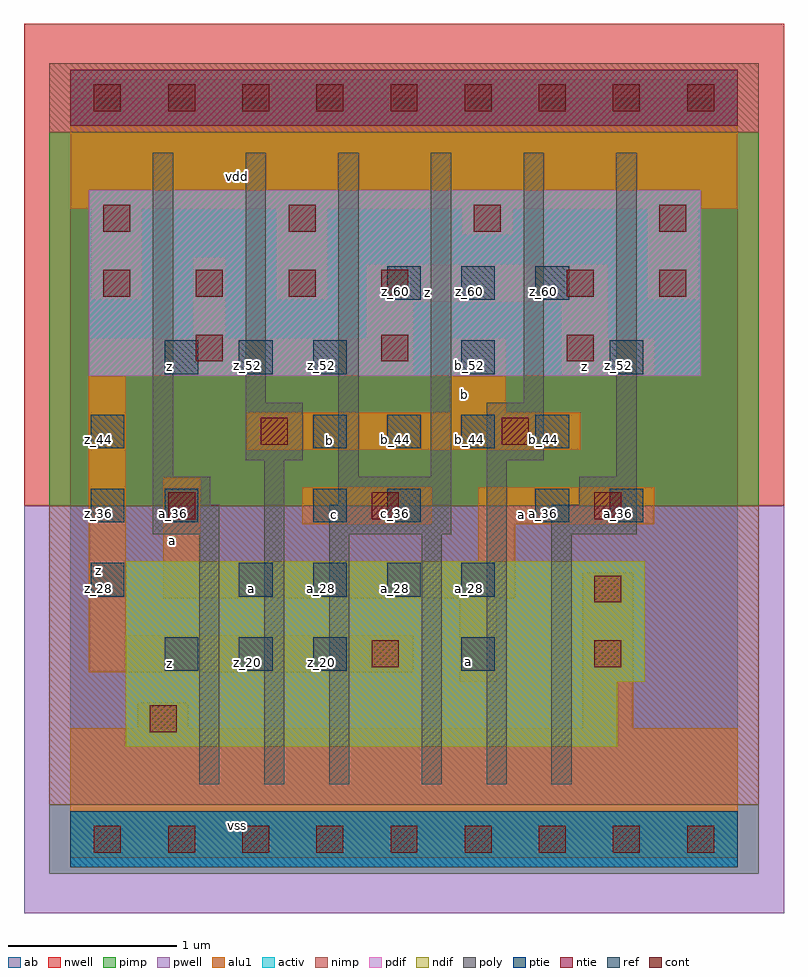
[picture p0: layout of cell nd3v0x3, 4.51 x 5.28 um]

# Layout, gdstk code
import gdstk
lib = gdstk.Library(unit=1e-6, precision=2.5e-09)
def R(c, l, rs):  # rectangles x0, y0, x1, y1
    for r in rs: c.add(gdstk.rectangle(r[:2], r[2:], *l))
def A(c, l, x, y, w, h, nx, ny, dx, dy):  # array of equal rectangles
    R(c, l, [(x+i*dx, y+j*dy, x+i*dx+w, y+j*dy+h) for i in range(nx) for j in range(ny)])
ndif = (3, 0)
pdif = (4, 0)
ntie = (5, 0)
ptie = (6, 0)
ref = (24, 0)
cont = (25, 0)
pwell = (41, 0)
nwell = (42, 0)
activ = (43, 0)
pimp = (44, 0)
nimp = (45, 0)
poly = (46, 0)
alu1 = (49, 0)
ab = (63, 0)

nd3v0x3 = lib.new_cell('nd3v0x3')
R(nd3v0x3, ndif, [(0.33,0.55,3.245,0.935), (0.33,0.935,3.41,1.65)])
R(nd3v0x3, pdif, [(0.11,2.75,3.74,3.85)])
R(nd3v0x3, ntie, [(0,4.235,3.96,4.565)])
R(nd3v0x3, ptie, [(0,-0.165,3.96,0.165)])
A(nd3v0x3, ref, 0.56, 1, 0.2, 0.2, 3, 2, 0.44, 1.76)
A(nd3v0x3, ref, 0.12, 1.44, 0.2, 0.2, 1, 3, 0, 0.44)
A(nd3v0x3, ref, 1, 1.44, 0.2, 0.2, 4, 1, 0.44, 0)
A(nd3v0x3, ref, 1.44, 2.32, 0.2, 0.2, 4, 1, 0.44, 0)
A(nd3v0x3, ref, 1.88, 3.2, 0.2, 0.2, 3, 1, 0.44, 0)
R(nd3v0x3, ref, [(2.32,1,2.52,1.2), (0.56,1.88,0.76,2.08), (1.44,1.88,1.64,2.08), (1.88,1.88,2.08,2.08), (2.76,1.88,2.96,2.08), (3.2,1.88,3.4,2.08), (2.32,2.76,2.52,2.96), (3.2,2.76,3.4,2.96)])
A(nd3v0x3, cont, 0.14, -0.08, 0.16, 0.16, 9, 2, 0.44, 4.4)
A(nd3v0x3, cont, 0.745, 2.835, 0.16, 0.16, 3, 1, 1.1, 0)
A(nd3v0x3, cont, 0.195, 3.22, 0.16, 0.16, 4, 1, 0.55, 0)
A(nd3v0x3, cont, 0.195, 3.605, 0.16, 0.16, 4, 1, 1.1, 0)
R(nd3v0x3, cont, [(0.47,0.635,0.63,0.795), (1.79,1.02,1.95,1.18), (3.11,1.02,3.27,1.18), (3.11,1.405,3.27,1.565), (0.58,1.9,0.74,2.06), (1.79,1.9,1.95,2.06), (3.11,1.9,3.27,2.06), (1.13,2.34,1.29,2.5), (2.56,2.34,2.72,2.5), (2.945,3.22,3.105,3.38), (3.495,3.22,3.655,3.38)])
R(nd3v0x3, pwell, [(-0.275,-0.44,4.235,1.98)])
R(nd3v0x3, nwell, [(-0.275,1.98,4.235,4.84)])
R(nd3v0x3, activ, [(0,-0.165,3.96,0.165), (0.33,0.55,3.245,0.935), (0.33,0.935,3.41,1.65), (0.11,2.75,3.74,3.85), (0,4.235,3.96,4.565)])
R(nd3v0x3, pimp, [(-0.125,-0.205,4.085,0.205), (-0.125,1.98,4.085,4.195)])
R(nd3v0x3, nimp, [(-0.125,0.205,4.085,1.98), (-0.125,4.195,4.085,4.605)])
R(nd3v0x3, poly, [(0.765,0.325,0.885,1.81), (1.15,0.325,1.27,2.25), (1.535,0.325,1.655,1.81), (2.085,0.325,2.205,1.81), (2.47,0.325,2.59,2.25), (2.855,0.325,2.975,1.81), (0.49,1.81,0.885,1.985), (1.535,1.81,2.26,1.985), (2.855,1.81,3.36,1.985), (0.49,1.985,0.83,2.15), (1.59,1.985,2.26,2.15), (3.02,1.985,3.36,2.15), (0.49,2.15,0.61,4.075), (1.59,2.15,1.71,4.075), (2.14,2.15,2.26,4.075), (3.24,2.15,3.36,4.075), (1.04,2.25,1.38,2.59), (2.47,2.25,2.81,2.59), (1.04,2.59,1.16,4.075), (2.69,2.59,2.81,4.075)])
R(nd3v0x3, alu1, [(0,-0.11,3.96,0.66), (0.4,0.66,0.7,0.81), (3.04,0.66,3.34,1.58), (2.31,0.935,2.53,1.43), (0.11,0.99,2.035,1.21), (0.11,1.21,0.33,2.75), (0.55,1.43,2.64,1.65), (0.55,1.65,0.77,2.145), (2.42,1.65,2.64,1.87), (1.375,1.87,2.145,2.09), (2.42,1.87,3.465,2.09), (1.045,2.31,3.025,2.53), (2.255,2.53,2.585,2.97), (0.11,2.75,2.035,2.97), (2.915,2.75,3.465,2.97), (0.73,2.97,0.92,3.45), (1.76,2.97,2.035,3.19), (2.915,2.97,3.19,3.19), (1.76,3.19,3.19,3.41), (0.125,3.205,0.425,3.74), (1.225,3.205,1.525,3.74), (3.425,3.205,3.725,3.74), (2.325,3.59,2.625,3.74), (0,3.74,3.96,4.51)])
R(nd3v0x3, ab, [(0,0,3.96,4.4)])
nd3v0x3.add(gdstk.Label('vss', (0.99,0.0825), layer=49, texttype=0))
nd3v0x3.add(gdstk.Label('a', (2.365,1.0575), layer=49, texttype=0))
nd3v0x3.add(gdstk.Label('z', (0.59,1.045), layer=49, texttype=0))
nd3v0x3.add(gdstk.Label('a', (1.0725,1.485), layer=49, texttype=0))
nd3v0x3.add(gdstk.Label('a', (2.68,1.925), layer=49, texttype=0))
nd3v0x3.add(gdstk.Label('c', (1.5675,1.925), layer=49, texttype=0))
nd3v0x3.add(gdstk.Label('a', (0.605,1.7725), layer=49, texttype=0))
nd3v0x3.add(gdstk.Label('b', (1.54,2.365), layer=49, texttype=0))
nd3v0x3.add(gdstk.Label('z', (3.0525,2.805), layer=49, texttype=0))
nd3v0x3.add(gdstk.Label('b', (2.3375,2.64), layer=49, texttype=0))
nd3v0x3.add(gdstk.Label('z', (0.165,1.595), layer=49, texttype=0))
nd3v0x3.add(gdstk.Label('z', (0.59,2.805), layer=49, texttype=0))
nd3v0x3.add(gdstk.Label('z', (2.1175,3.245), layer=49, texttype=0))
nd3v0x3.add(gdstk.Label('vdd', (0.99,3.9325), layer=49, texttype=0))
nd3v0x3.add(gdstk.Label('z_20', (0.61,1.05), layer=24, texttype=0))
nd3v0x3.add(gdstk.Label('a_36', (0.61,1.93), layer=24, texttype=0))
nd3v0x3.add(gdstk.Label('z_52', (0.61,2.81), layer=24, texttype=0))
nd3v0x3.add(gdstk.Label('z_20', (1.05,1.05), layer=24, texttype=0))
nd3v0x3.add(gdstk.Label('a_28', (1.05,1.49), layer=24, texttype=0))
nd3v0x3.add(gdstk.Label('z_52', (1.05,2.81), layer=24, texttype=0))
nd3v0x3.add(gdstk.Label('z_20', (1.49,1.05), layer=24, texttype=0))
nd3v0x3.add(gdstk.Label('a_28', (1.49,1.49), layer=24, texttype=0))
nd3v0x3.add(gdstk.Label('c_36', (1.49,1.93), layer=24, texttype=0))
nd3v0x3.add(gdstk.Label('b_44', (1.49,2.37), layer=24, texttype=0))
nd3v0x3.add(gdstk.Label('z_52', (1.49,2.81), layer=24, texttype=0))
nd3v0x3.add(gdstk.Label('a_28', (1.93,1.49), layer=24, texttype=0))
nd3v0x3.add(gdstk.Label('c_36', (1.93,1.93), layer=24, texttype=0))
nd3v0x3.add(gdstk.Label('b_44', (1.93,2.37), layer=24, texttype=0))
nd3v0x3.add(gdstk.Label('z_60', (1.93,3.25), layer=24, texttype=0))
nd3v0x3.add(gdstk.Label('z_28', (0.17,1.49), layer=24, texttype=0))
nd3v0x3.add(gdstk.Label('z_36', (0.17,1.93), layer=24, texttype=0))
nd3v0x3.add(gdstk.Label('z_44', (0.17,2.37), layer=24, texttype=0))
nd3v0x3.add(gdstk.Label('a_20', (2.37,1.05), layer=24, texttype=0))
nd3v0x3.add(gdstk.Label('a_28', (2.37,1.49), layer=24, texttype=0))
nd3v0x3.add(gdstk.Label('b_44', (2.37,2.37), layer=24, texttype=0))
nd3v0x3.add(gdstk.Label('b_52', (2.37,2.81), layer=24, texttype=0))
nd3v0x3.add(gdstk.Label('z_60', (2.37,3.25), layer=24, texttype=0))
nd3v0x3.add(gdstk.Label('a_36', (2.81,1.93), layer=24, texttype=0))
nd3v0x3.add(gdstk.Label('b_44', (2.81,2.37), layer=24, texttype=0))
nd3v0x3.add(gdstk.Label('z_60', (2.81,3.25), layer=24, texttype=0))
nd3v0x3.add(gdstk.Label('a_36', (3.25,1.93), layer=24, texttype=0))
nd3v0x3.add(gdstk.Label('z_52', (3.25,2.81), layer=24, texttype=0))

lib.write_gds('nd3v0x3.gds')
